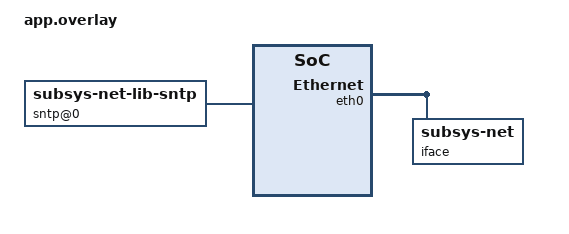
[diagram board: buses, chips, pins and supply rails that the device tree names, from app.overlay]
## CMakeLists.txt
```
# SPDX-License-Identifier: Apache-2.0

cmake_minimum_required(VERSION 3.28.0)

find_package(Zephyr REQUIRED HINTS $ENV{ZEPHYR_BASE})
project(sockets_echo)

FILE(GLOB app_sources src/*.c)
target_sources(app PRIVATE ${app_sources})

include(${ZEPHYR_BASE}/samples/net/common/common.cmake)
```

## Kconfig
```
#  Copyright (c) 2024 Steve Boylan <stephen.boylan@beechwoods.com>
#  SPDX-License-Identifier: Apache-2.0

mainmenu "Sample app Configuration"

if WIFI
config NET_SAMPLE_WIFI_SSID
	string "WIFI SSID - Network name"
	default "my_network"

config NET_SAMPLE_WIFI_PSK
	string "WIFI PSK - Network password key"
	default "secret_passwd"
endif

source "Kconfig.zephyr"
```

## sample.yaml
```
sample:
  description: BSD Sockets API TCP echo server sample
  name: socket_echo
common:
  harness: net
  depends_on: netif
  filter: CONFIG_FULL_LIBC_SUPPORTED and not CONFIG_NATIVE_LIBC
tests:
  sample.net.sockets.echo:
    tags:
      - net
      - socket
  sample.net.sockets.echo.offload.simplelink:
    platform_allow: cc3220sf_launchxl
    tags:
      - net
      - socket
      - offload
      - simplelink
```

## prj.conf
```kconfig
# General config
CONFIG_MAIN_STACK_SIZE=1200
CONFIG_POSIX_AEP_CHOICE_PSE52=y
CONFIG_POSIX_NETWORKING=y

# Networking config
CONFIG_NETWORKING=y
CONFIG_NET_IPV4=y
CONFIG_NET_IPV6=y
CONFIG_NET_TCP=y
CONFIG_NET_SOCKETS=y
CONFIG_NET_IPV4_MAPPING_TO_IPV6=y

# Network driver config
CONFIG_TEST_RANDOM_GENERATOR=y

# Network address config
CONFIG_NET_CONFIG_SETTINGS=y
CONFIG_NET_CONFIG_NEED_IPV4=y
CONFIG_NET_CONFIG_NEED_IPV6=y
CONFIG_NET_CONFIG_MY_IPV4_ADDR="192.0.2.1"
CONFIG_NET_CONFIG_PEER_IPV4_ADDR="192.0.2.2"
CONFIG_NET_CONFIG_MY_IPV6_ADDR="2001:db8::1"
CONFIG_NET_CONFIG_PEER_IPV6_ADDR="2001:db8::2"
```

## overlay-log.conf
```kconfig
CONFIG_LOG=y
CONFIG_LOG_IMMEDIATE=y
CONFIG_LOG_BACKEND_SHOW_COLOR=n

CONFIG_NET_LOG=y

#CONFIG_NET_IF_LOG_LEVEL_DBG=y
#CONFIG_NET_L2_ETHERNET_LOG_LEVEL_DBG=y

CONFIG_NET_SOCKETS_LOG_LEVEL_DBG=y
CONFIG_NET_CONN_LOG_LEVEL_DBG=y
CONFIG_NET_CONTEXT_LOG_LEVEL_DBG=y

CONFIG_NET_TCP_LOG_LEVEL_DBG=y
```

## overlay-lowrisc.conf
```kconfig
# General config
CONFIG_NEWLIB_LIBC=y
CONFIG_MAIN_STACK_SIZE=1200

# Networking config
CONFIG_NETWORKING=y
CONFIG_NET_IPV4=y
CONFIG_NET_IPV6=n
CONFIG_NET_TCP=y
CONFIG_NET_SOCKETS=y
CONFIG_NET_SOCKETS_POSIX_NAMES=y

# Network driver config
CONFIG_TEST_RANDOM_GENERATOR=y

# Network address config
CONFIG_NET_CONFIG_SETTINGS=y
CONFIG_NET_CONFIG_NEED_IPV4=y
CONFIG_NET_CONFIG_MY_IPV4_ADDR="192.168.1.78"
#CONFIG_NET_CONFIG_PEER_IPV4_ADDR="192.0.2.2"


CONFIG_NET_L2_ETHERNET=y
#CONFIG_NET_QEMU_ETHERNET=y

CONFIG_ETH_LOWRISC=y
CONFIG_ETH_LOWRISC_VERBOSE_DEBUG=y
#CONFIG_PCIE=y
CONFIG_ETHERNET_LOG_LEVEL_DBG=y
```

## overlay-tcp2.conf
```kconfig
# Overlay for experimental TCP

CONFIG_NET_TCP=y
CONFIG_NET_TCP2=y

CONFIG_MAIN_STACK_SIZE=2048
CONFIG_NET_TX_STACK_SIZE=8192
CONFIG_NET_RX_STACK_SIZE=8192

CONFIG_HEAP_MEM_POOL_SIZE=8192

CONFIG_STACK_CANARIES=y
```

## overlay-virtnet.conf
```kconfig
# Copyright (c) 2025 Antmicro <www.antmicro.com>
# SPDX-License-Identifier: Apache-2.0

CONFIG_PCIE=y
CONFIG_VIRTIO=y
CONFIG_HEAP_MEM_POOL_SIZE=1000000
CONFIG_NET_L2_ETHERNET=y
CONFIG_NET_QEMU_ETHERNET=y
CONFIG_LOG=y
CONFIG_NET_LOG=y
```

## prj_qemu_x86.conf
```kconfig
# General config
CONFIG_NEWLIB_LIBC=y

# Networking config
CONFIG_NETWORKING=y
CONFIG_NET_IPV4=y
CONFIG_NET_IPV6=n
CONFIG_NET_TCP=y
CONFIG_NET_SOCKETS=y
CONFIG_NET_SOCKETS_POSIX_NAMES=y

# Network driver config
CONFIG_TEST_RANDOM_GENERATOR=y

# Without CONFIG_NET_BUF_LOG printf() doesn't work
CONFIG_NET_BUF_LOG=y

# Network address config
CONFIG_NET_APP_SETTINGS=y
CONFIG_NET_APP_MY_IPV4_ADDR="192.0.2.1"
CONFIG_NET_APP_PEER_IPV4_ADDR="192.0.2.2"

# Network debug config
#CONFIG_NET_DEBUG_SOCKETS=y
CONFIG_SYS_LOG_NET_LEVEL=2
```

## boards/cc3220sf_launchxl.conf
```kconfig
# Networking Config:
CONFIG_NET_NATIVE=n
CONFIG_NET_IPV6=n

# Enable SimpleLink WiFi Driver and Socket Offload
CONFIG_WIFI=y
CONFIG_WIFI_SIMPLELINK=y
# The SimpleLink driver is deprecated, keep the build going until it is removed
CONFIG_WARN_DEPRECATED=n
CONFIG_NET_SOCKETS_OFFLOAD=y

# Disable unneeded settings from the base prj.conf:
CONFIG_TEST_RANDOM_GENERATOR=n
CONFIG_NET_CONFIG_SETTINGS=n
CONFIG_NET_CONFIG_MY_IPV4_ADDR=""
CONFIG_NET_CONFIG_PEER_IPV4_ADDR=""

# Debugging
CONFIG_NET_LOG=y
CONFIG_WIFI_LOG_LEVEL_DBG=y
CONFIG_DEBUG=y
#CONFIG_ASSERT=y
```

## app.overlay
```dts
/* SPDX-License-Identifier: Apache-2.0 */

/* Sample network subsystem configuration. */

/subsys/net/lib {
	sntp-google: sntp@0 {
		compatible = "zephyr,subsys-net-lib-sntp";
		server = "time.google.com";
		timeout = 30;
	};
};

&eth0 {
	/* Binds to a network peripheral which again determines
	 * a driver instance. When a peripheral (and its driver
	 * instance) exposes several interfaces, then we'll have
	 * to specify a <prop-encoded-array> which will determine
	 * the specific interface instance to bind to, e.g. in case
	 * a WiFi device exposes both, station and access point,
	 * interfaces we could refer to them by iface@0 and iface@1
	 * respectively or any other addressing scheme that makes
	 * sense for the given peripheral and conforms to the DT
	 * spec.
	 */
	iface {
		compatible = "zephyr,subsys-net";
		iface-name = "my-eth0";
		is-default;

		ipv6 {
			compatible = "zephyr,subsys-net-ipv6";
			status = "okay"; /* Just for demonstration, this is the default. */

			addr = "2001:db8:110::1";
			hop-limit = 64;

			mcast-addr = "ff05::114", "ff15::115";
			mcast-hop-limit = 1;

			prefixes {
				prefix@0 {
					addr = "2001:db8::";
					len = 64;
					lifetime = 1024;
				};
			};

			dhcp {
				req-addr;
				/* req-prefix - disabled */
			};
		};

		ipv4 {
			compatible = "zephyr,subsys-net-ipv4";
			status = "disabled"; /* Properties in this node will be ignored. */

			addr = "192.0.2.10/24";
			mcast-addr = "234.0.0.10";
			gateway = "192.0.2.1";
			ttl = 64;
			mcast-ttl = 1;
			/* autoconf - disabled */

			dhcp { /* currently no props, still a node for forward compat */
				status = "okay";
			};
		};

		ieee802154 {
			/* I propose that for bindings (not driver selection), compatibles
			 * can be composed. Our current approach only allows for
			 * inheritance. IMO this is not good design practice. We should use
			 * composition instead where applicable.
			 *
			 * If the selected driver does not support one of the properties
			 * it will be ignored (same as today).
			 *
			 * This example shows that both, inheritance and composition, have
			 * legitimate applications:
			 *  - We compose driver configuration properties (potentially even
			 *    vendor specific) with generic IEEE 802.15.4 L2 properties.
			 *  - We let the native IEEE 802.15.4 L2 schema inherit from a
			 *    generic IEEE 802.15.4 L2 schema which will be shared by all
			 *    IEEE 802.15.4 L2 stacks.
			 *
			 * We could (optionally) introduce an additive syntax for DT
			 * <stringlist> properties, e.g.: compatible = "... {} ..."; for
			 * improved encapsulation where {} will be replaced with the list
			 * defined further up in the overlay hierarchy. But IMO it's fine if
			 * applications live with this slight redundancy as it won't matter
			 * much in practice.
			 */
			compatible = "nordic,nrf-ieee802154" "zephyr,subsys-net-l2-ieee802154-native"; /* which inherits from "zephyr,subsys-net-l2-ieee802154" */

			pan-id = 0xabcd; /* little endian */
			ext-addr = 0xc2a39e00004b1200; /* big endian */
			default-channel = 26;
			default-tx-pwr = 1;
			sec-key = "000102030405060708090a0b0c0d0e0f"; /* 16 bytes hex, deprecated by the standard - the new spec will require a secure key store */
			sec-key-mode = 0;
			sec-level = 1;
			no-ack;
		};

		sntp: &sntp-google;
	};
};
```

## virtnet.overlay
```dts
/*
 * Copyright (c) 2025 Antmicro <www.antmicro.com>
 *
 * SPDX-License-Identifier: Apache-2.0
 */

&pcie0 {
	eth0: eth0 {
		status = "disabled";
	};
	virtio_pci: virtio-pci {
		compatible = "virtio,pci";

		device-id = <0x1000>;
		vendor-id = <0x1af4>;

		interrupts = <0xb 0x0 0x0>;
		interrupt-parent = <&intc>;

		virtio_net: virtio-net {
			compatible = "virtio,net";
			status = "okay";
		};
	};
};
```

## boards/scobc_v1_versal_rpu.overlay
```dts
/*
 * Copyright (c) 2026 Space Cubics Inc.
 *
 * SPDX-License-Identifier: Apache-2.0
 */

/*
 * The networking stack does not fit into TCM/OCM, so run the whole
 * image from a DDR carve-out instead.
 */

/ {
	chosen {
		/delete-property/ zephyr,flash;
		zephyr,sram = &rpu_ddr;
	};

	rpu_ddr: memory@9800000 {
		compatible = "mmio-dram";
		reg = <0x09800000 DT_SIZE_M(1)>;
	};
};

&gem1 {
	status = "okay";
};

&gem1_mdio {
	status = "okay";
};
```

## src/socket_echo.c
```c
/*
 * Copyright (c) 2017 Linaro Limited
 *
 * SPDX-License-Identifier: Apache-2.0
 */

#include <stdio.h>
#include <stdlib.h>
#include <errno.h>

#ifndef __ZEPHYR__

#include <netinet/in.h>
#include <sys/socket.h>
#include <arpa/inet.h>
#include <unistd.h>

#else

#include <zephyr/posix/netinet/in.h>
#include <zephyr/posix/sys/socket.h>
#include <zephyr/posix/arpa/inet.h>
#include <zephyr/posix/unistd.h>
#include <zephyr/posix/poll.h>

#include <zephyr/net/socket.h>
#include <zephyr/kernel.h>

#endif

#define BIND_PORT 4242

int main(void)
{
	int opt;
	socklen_t optlen = sizeof(int);
	int serv, ret;
	struct sockaddr_in6 bind_addr = {
		.sin6_family = AF_INET6,
		.sin6_addr = IN6ADDR_ANY_INIT,
		.sin6_port = htons(BIND_PORT),
	};
	static int counter;

	serv = socket(AF_INET6, SOCK_STREAM, IPPROTO_TCP);
	if (serv < 0) {
		printf("error: socket: %d\n", errno);
		exit(1);
	}

	ret = getsockopt(serv, IPPROTO_IPV6, IPV6_V6ONLY, &opt, &optlen);
	if (ret == 0) {
		if (opt) {
			printf("IPV6_V6ONLY option is on, turning it off.\n");

			opt = 0;
			ret = setsockopt(serv, IPPROTO_IPV6, IPV6_V6ONLY,
					 &opt, optlen);
			if (ret < 0) {
				printf("Cannot turn off IPV6_V6ONLY option\n");
			} else {
				printf("Sharing same socket between IPv6 and IPv4\n");
			}
		}
	}

	if (bind(serv, (struct sockaddr *)&bind_addr, sizeof(bind_addr)) < 0) {
		printf("error: bind: %d\n", errno);
		exit(1);
	}

	if (listen(serv, 5) < 0) {
		printf("error: listen: %d\n", errno);
		exit(1);
	}

	printf("Single-threaded TCP echo server waits for a connection on "
	       "port %d...\n", BIND_PORT);

	while (1) {
		struct sockaddr_in6 client_addr;
		socklen_t client_addr_len = sizeof(client_addr);
		char addr_str[32];
		int client = accept(serv, (struct sockaddr *)&client_addr,
				    &client_addr_len);

		if (client < 0) {
			printf("error: accept: %d\n", errno);
			continue;
		}

		inet_ntop(client_addr.sin6_family, &client_addr.sin6_addr,
			  addr_str, sizeof(addr_str));
		printf("Connection #%d from %s\n", counter++, addr_str);

		while (1) {
			char buf[128], *p;
			int len = recv(client, buf, sizeof(buf), 0);
			int out_len;

			if (len <= 0) {
				if (len < 0) {
					printf("error: recv: %d\n", errno);
				}
				break;
			}

			p = buf;
			do {
				out_len = send(client, p, len, 0);
				if (out_len < 0) {
					printf("error: send: %d\n", errno);
					goto error;
				}
				p += out_len;
				len -= out_len;
			} while (len);
		}

error:
		close(client);
		printf("Connection from %s closed\n", addr_str);
	}
	return 0;
}
```
